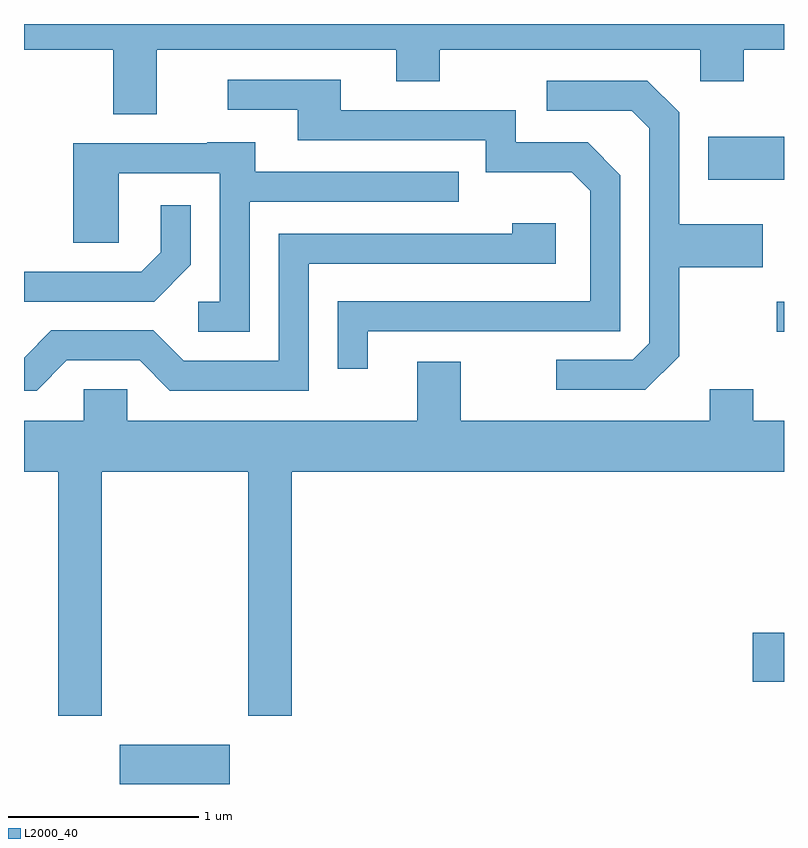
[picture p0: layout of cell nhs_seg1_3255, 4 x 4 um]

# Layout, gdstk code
import gdstk
lib = gdstk.Library(unit=1e-6, precision=1e-09)
def R(c, l, rs):  # rectangles x0, y0, x1, y1
    for r in rs: c.add(gdstk.rectangle(r[:2], r[2:], *l))
def P(c, l, *ps):  # polygons
    for p in ps: c.add(gdstk.Polygon(p, *l))
L2000_40 = (2000, 40)

nhs_seg1_3255 = lib.new_cell('nhs_seg1_3255')
R(nhs_seg1_3255, L2000_40, [(284.116,895.712,284.694,895.919), (287.446,896.251,287.611,896.509), (287.573,898.091,287.611,898.249), (287.211,898.891,287.611,899.119)])
P(nhs_seg1_3255, L2000_40, [(284.309,899.576),(285.571,899.576),(285.571,899.411),(285.799,899.411),(285.799,899.576),(287.171,899.576),(287.171,899.411),(287.399,899.411),(287.399,899.576),(287.611,899.576),(287.611,899.712),(283.611,899.712),(283.611,899.576),(284.081,899.576),(284.081,899.236),(284.309,899.236)],
  [(285.419,898.096),(286.749,898.096),(286.749,898.917),(286.577,899.089),(286.199,899.089),(286.199,899.259),(285.279,899.259),(285.279,899.419),(284.683,899.419),(284.683,899.261),(285.051,899.261),(285.051,899.101),(286.041,899.101),(286.041,898.931),(286.494,898.931),(286.591,898.834),(286.591,898.254),(285.261,898.254),(285.261,897.898),(285.419,897.898)],
  [(287.059,897.964),(287.059,898.431),(287.499,898.431),(287.499,898.659),(287.059,898.659),(287.059,899.247),(286.892,899.414),(286.363,899.414),(286.363,899.256),(286.809,899.256),(286.901,899.164),(286.901,898.032),(286.814,897.944),(286.413,897.944),(286.413,897.786),(286.882,897.786)],
  [(284.799,898.776),(285.898,898.776),(285.898,898.934),(284.829,898.934),(284.829,899.089),(284.575,899.089),(284.575,899.084),(283.871,899.084),(283.871,898.561),(284.109,898.561),(284.109,898.926),(284.641,898.926),(284.641,898.249),(284.528,898.249),(284.528,898.091),(284.799,898.091)],
  [(284.489,898.444),(284.489,898.758),(284.331,898.758),(284.331,898.512),(284.229,898.409),(283.611,898.409),(283.611,898.251),(284.297,898.251)],
  [(283.837,897.941),(284.219,897.941),(284.379,897.781),(285.109,897.781),(285.109,898.451),(286.409,898.451),(286.409,898.664),(286.181,898.664),(286.181,898.609),(284.951,898.609),(284.951,897.939),(284.452,897.939),(284.292,898.099),(283.754,898.099),(283.611,897.956),(283.611,897.781),(283.677,897.781)],
  [(287.221,897.789),(287.221,897.624),(285.909,897.624),(285.909,897.934),(285.681,897.934),(285.681,897.624),(284.154,897.624),(284.154,897.789),(283.926,897.789),(283.926,897.624),(283.611,897.624),(283.611,897.356),(283.791,897.356),(283.791,896.071),(284.019,896.071),(284.019,897.356),(284.791,897.356),(284.791,896.071),(285.019,896.071),(285.019,897.356),(287.611,897.356),(287.611,897.624),(287.449,897.624),(287.449,897.789)])

lib.write_gds('nhs_seg1_3255.gds')
